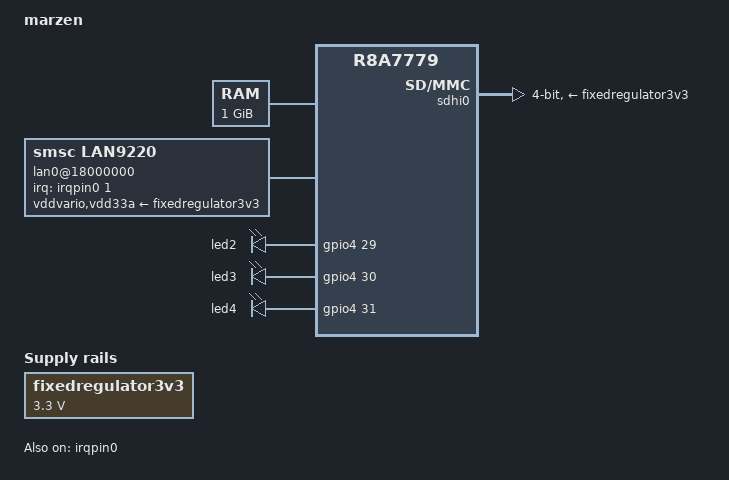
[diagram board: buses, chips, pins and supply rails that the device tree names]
/*
 * Reference Device Tree Source for the Marzen board
 *
 * Copyright (C) 2013 Renesas Solutions Corp.
 * Copyright (C) 2013 Simon Horman
 *
 * This file is licensed under the terms of the GNU General Public License
 * version 2.  This program is licensed "as is" without any warranty of any
 * kind, whether express or implied.
 */

/dts-v1/;
/include/ "r8a7779.dtsi"
#include <dt-bindings/gpio/gpio.h>

/ {
	model = "marzen";
	compatible = "renesas,marzen-reference", "renesas,r8a7779";

	chosen {
		bootargs = "console=ttySC2,115200 earlyprintk=sh-sci.2,115200 ignore_loglevel root=/dev/nfs ip=on rw";
	};

	memory {
		device_type = "memory";
		reg = <0x60000000 0x40000000>;
	};

	fixedregulator3v3: fixedregulator@0 {
		compatible = "regulator-fixed";
		regulator-name = "fixed-3.3V";
		regulator-min-microvolt = <3300000>;
		regulator-max-microvolt = <3300000>;
		regulator-boot-on;
		regulator-always-on;
	};

	lan0@18000000 {
		compatible = "smsc,lan9220", "smsc,lan9115";
		reg = <0x18000000 0x100>;
		pinctrl-0 = <&lan0_pins>;
		pinctrl-names = "default";

		phy-mode = "mii";
		interrupt-parent = <&irqpin0>;
		interrupts = <1 0>; /* IRQ1: hwirq 1 on irqpin0 */
		reg-io-width = <4>;
		vddvario-supply = <&fixedregulator3v3>;
		vdd33a-supply = <&fixedregulator3v3>;
	};

	leds {
		compatible = "gpio-leds";
		led2 {
			gpios = <&gpio4 29 GPIO_ACTIVE_HIGH>;
		};
		led3 {
			gpios = <&gpio4 30 GPIO_ACTIVE_HIGH>;
		};
		led4 {
			gpios = <&gpio4 31 GPIO_ACTIVE_HIGH>;
		};
	};
};

&irqpin0 {
	status = "okay";
};

&pfc {
	pinctrl-0 = <&scif2_pins &scif4_pins>;
	pinctrl-names = "default";

	lan0_pins: lan0 {
		intc {
			renesas,groups = "intc_irq1_b";
			renesas,function = "intc";
		};
		lbsc {
			renesas,groups = "lbsc_ex_cs0";
			renesas,function = "lbsc";
		};
	};

	scif2_pins: serial2 {
		renesas,groups = "scif2_data_c";
		renesas,function = "scif2";
	};

	scif4_pins: serial4 {
		renesas,groups = "scif4_data";
		renesas,function = "scif4";
	};

	sdhi0_pins: sd0 {
		renesas,groups = "sdhi0_data4", "sdhi0_ctrl", "sdhi0_cd",
				 "sdhi0_wp";
		renesas,function = "sdhi0";
	};
};

&sdhi0 {
	pinctrl-0 = <&sdhi0_pins>;
	pinctrl-names = "default";

	vmmc-supply = <&fixedregulator3v3>;
	bus-width = <4>;
	status = "okay";
};
